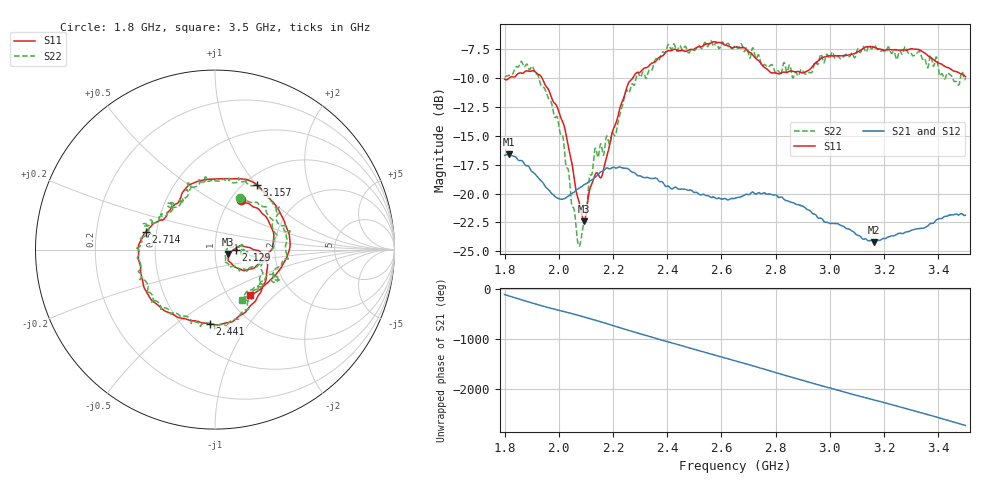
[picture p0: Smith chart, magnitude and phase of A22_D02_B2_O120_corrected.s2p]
! Created with skrf 1.9.0 (http://scikit-rf.org).
# Hz S RI R 50.0
!freq ReS11 ImS11 ReS21 ImS21 ReS12 ImS12 ReS22 ImS22
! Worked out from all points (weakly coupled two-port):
!   1601 points, 1.8 GHz to 3.5 GHz, reference 50 ohm
!   highest |S21| = -16.63 dB at 1.817 GHz (marker M1); lowest = -24.2 dB at 3.163 GHz (marker M2)
!   lowest |S11| = -22.4 dB at 2.093 GHz (marker M3), VSWR 1.16, Z = 57.7 - j2.8 ohm
!   |S11| at or under -10 dB: start of sweep to 1.818 GHz; 1.938 GHz to 2.273 GHz (335.6 MHz wide, 15.9 % of centre)
!   |S22| runs from -24.5 to -6.8 dB; largest |S21 - S12| = 0.0026
!   S11 on the Smith chart (normalised r, x): 1.8 GHz: 1.12, +0.68; 2.129 GHz: 1.26, -0.00; 2.441 GHz: 0.68, -0.67; 2.714 GHz: 0.43, +0.10; 3.157 GHz: 1.13, +1.01; 3.5 GHz: 1.27, -0.71
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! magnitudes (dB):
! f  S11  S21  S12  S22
! 1.8 GHz  -10.1  -16.7  -16.7  -9.9
! 1.817 GHz  -10.0  -16.6  -16.6  -9.8
! 1.902 GHz  -9.4  -18.1  -18.1  -9.0
! 1.967 GHz  -11.3  -19.8  -19.9  -11.9
! 2.021 GHz  -14.3  -20.4  -20.4  -16.4
! 2.07 GHz  -20.3  -19.6  -19.6  -24.2
! 2.084 GHz  -21.7  -19.4  -19.4  -23.7
! 2.093 GHz  -22.4  -19.2  -19.3  -22.4
! 2.129 GHz  -18.7  -18.7  -18.7  -16.8
! 2.16 GHz  -18.4  -18.1  -18.0  -16.3
! 2.209 GHz  -14.0  -17.8  -17.7  -15.0
! 2.259 GHz  -10.4  -17.9  -17.9  -11.3
! 2.367 GHz  -8.3  -18.9  -18.8  -8.5
! 2.441 GHz  -7.7  -19.6  -19.6  -7.5
! 2.65 GHz  -7.4  -20.4  -20.4  -7.2
! 2.714 GHz  -8.0  -19.9  -19.9  -7.5
! 2.787 GHz  -9.6  -20.1  -20.1  -8.9
! 2.934 GHz  -9.1  -21.7  -21.6  -9.5
! 3.157 GHz  -7.3  -24.1  -24.1  -7.5
! 3.163 GHz  -7.4  -24.2  -24.1  -7.2
! 3.217 GHz  -7.6  -23.7  -23.7  -7.4
! 3.5 GHz  -9.9  -21.9  -21.9  -10.0
